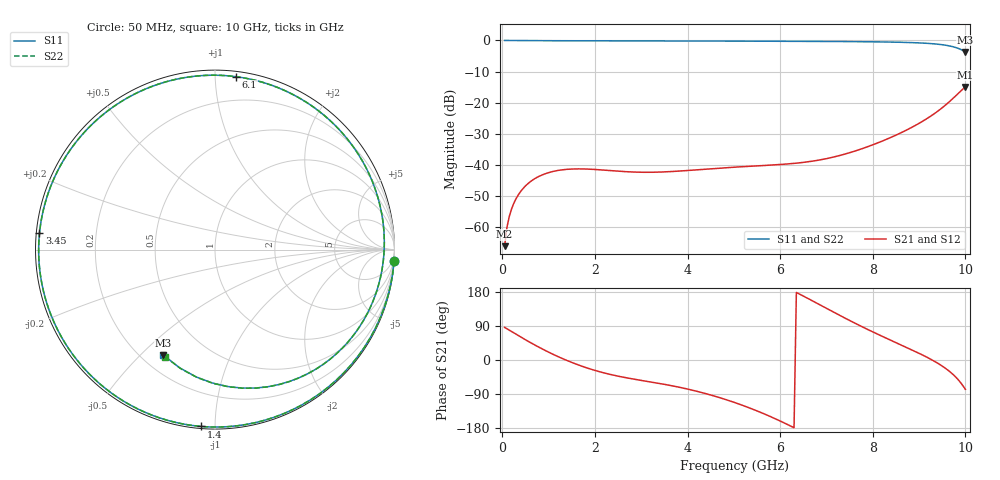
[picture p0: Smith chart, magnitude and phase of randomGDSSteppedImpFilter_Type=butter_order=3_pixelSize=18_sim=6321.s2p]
! freq	dB(S11)	phase(S11)	dB(S12)	phase(S12)
!  dB(S21)	phase(S21)	dB(S22)	phase(S22)
!S-par simulation data
#  GHz  S  DB  R 50
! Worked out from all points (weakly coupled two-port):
!   200 points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, 50 MHz to 10 GHz, reference 50 ohm
!   highest |S21| = -14.95 dB at 10 GHz (marker M1); lowest = -66.2 dB at 50 MHz (marker M2)
!   lowest |S11| = -3.7 dB at 10 GHz (marker M3), VSWR 4.78, Z = 14.3 - j29.3 ohm
!   |S11| at or under -10 dB: nowhere
!   |S22| runs from -3.6 to 0.0 dB; largest |S21 - S12| = 0
!   S11 on the Smith chart (normalised r, x): 50 MHz: 0, -30; 1.4 GHz: 0.01, -0.92; 3.45 GHz: 0.01, +0.05; 6.1 GHz: 0.03, +1.13; 10 GHz: 0.29, -0.59
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0.05  -0.00 -3.8  -66.17 86.1  -66.17 86.1  -0.00 -3.8
0.1  -0.01 -7.5  -60.15 82.4  -60.15 82.4  -0.01 -7.5
0.15  -0.02 -11.2  -56.66 78.7  -56.66 78.7  -0.02 -11.2
0.25  -0.03 -18.6  -52.33 71.4  -52.33 71.4  -0.03 -18.6
0.4  -0.05 -29.6  -48.51 60.5  -48.51 60.5  -0.05 -29.6
0.9  -0.08 -64.1  -43.01 26.8  -43.01 26.8  -0.08 -64.1
1.4  -0.10 -94.6  -41.45 -1.5  -41.45 -1.5  -0.10 -94.6
1.75  -0.12 -113.4  -41.33 -17.7  -41.33 -17.7  -0.12 -113.4
2.55  -0.14 -150.4  -42.09 -43.9  -42.09 -43.9  -0.14 -150.4
3.4  -0.16 176.5  -42.33 -62.0  -42.33 -62.0  -0.16 176.5
3.45  -0.16 174.6  -42.31 -63.1  -42.31 -63.1  -0.16 174.6
4.2  -0.18 148.1  -41.61 -82.5  -41.61 -82.5  -0.18 148.1
5.05  -0.21 119.1  -40.73 -113.6  -40.73 -113.6  -0.21 119.1
6.1  -0.26 83.0  -39.79 -166.8  -39.79 -166.8  -0.26 83.0
6.7  -0.29 61.8  -38.81 156.0  -38.81 156.0  -0.29 61.8
7.6  -0.38 29.2  -35.65 98.1  -35.65 98.1  -0.38 29.2
8.35  -0.51 0.5  -31.45 54.3  -31.45 54.3  -0.51 0.6
8.85  -0.70 -20.6  -27.89 26.4  -27.89 26.4  -0.69 -20.6
9.3  -1.06 -43.7  -23.85 -1.2  -23.85 -1.2  -1.05 -43.5
9.75  -2.09 -79.0  -18.39 -40.0  -18.39 -40.0  -2.07 -78.5
9.9  -2.89 -98.4  -16.25 -60.2  -16.25 -60.2  -2.85 -97.7
10  -3.69 -116.2  -14.95 -77.6  -14.95 -77.6  -3.63 -115.2
